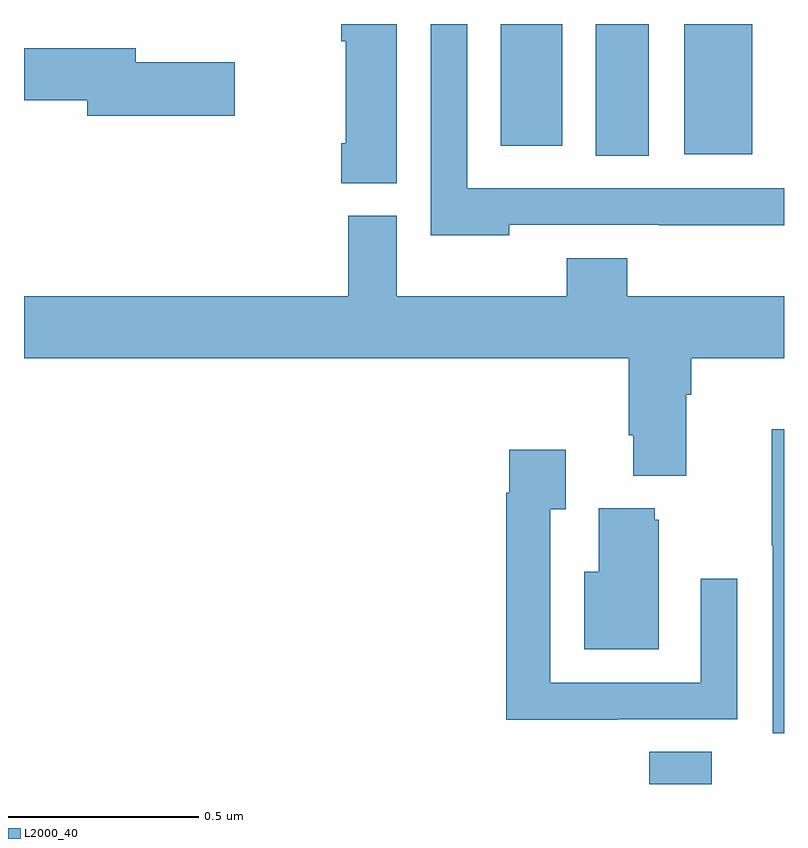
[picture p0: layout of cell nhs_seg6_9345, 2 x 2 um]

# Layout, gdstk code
import gdstk
lib = gdstk.Library(unit=1e-6, precision=1e-09)
def R(c, l, rs):  # rectangles x0, y0, x1, y1
    for r in rs: c.add(gdstk.rectangle(r[:2], r[2:], *l))
def P(c, l, *ps):  # polygons
    for p in ps: c.add(gdstk.Polygon(p, *l))
L2000_40 = (2000, 40)

nhs_seg6_9345 = lib.new_cell('nhs_seg6_9345')
R(nhs_seg6_9345, L2000_40, [(233.645,995.5,233.81,995.585), (233.504,997.153,233.644,997.5), (233.738,997.157,233.917,997.5), (233.255,997.179,233.416,997.5)])
P(nhs_seg6_9345, L2000_40, [(232.981,997.5),(232.835,997.5),(232.835,997.454),(232.847,997.454),(232.847,997.186),(232.835,997.186),(232.835,997.081),(232.981,997.081)],
  [(233.277,996.972),(233.671,996.972),(233.671,996.971),(234,996.971),(234,997.068),(233.166,997.068),(233.166,997.5),(233.07,997.5),(233.07,996.944),(233.277,996.944)],
  [(232.555,997.4),(232.294,997.4),(232.294,997.436),(232,997.436),(232,997.3),(232.166,997.3),(232.166,997.258),(232.555,997.258)],
  [(233.588,996.883),(233.428,996.883),(233.428,996.784),(232.981,996.784),(232.981,996.996),(232.853,996.996),(232.853,996.784),(232,996.784),(232,996.62),(233.591,996.62),(233.591,996.418),(233.603,996.418),(233.603,996.311),(233.743,996.311),(233.743,996.524),(233.756,996.524),(233.756,996.62),(234,996.62),(234,996.784),(233.588,996.784)],
  [(234,996.434),(233.968,996.434),(233.968,996.127),(233.97,996.127),(233.97,995.634),(234,995.634)],
  [(233.561,995.67),(233.877,995.67),(233.877,996.04),(233.781,996.04),(233.781,995.766),(233.385,995.766),(233.385,996.223),(233.425,996.223),(233.425,996.379),(233.277,996.379),(233.277,996.266),(233.269,996.266),(233.269,995.669),(233.561,995.669)],
  [(233.671,996.195),(233.66,996.195),(233.66,996.226),(233.513,996.226),(233.513,996.058),(233.474,996.058),(233.474,995.855),(233.671,995.855)])

lib.write_gds('nhs_seg6_9345.gds')
